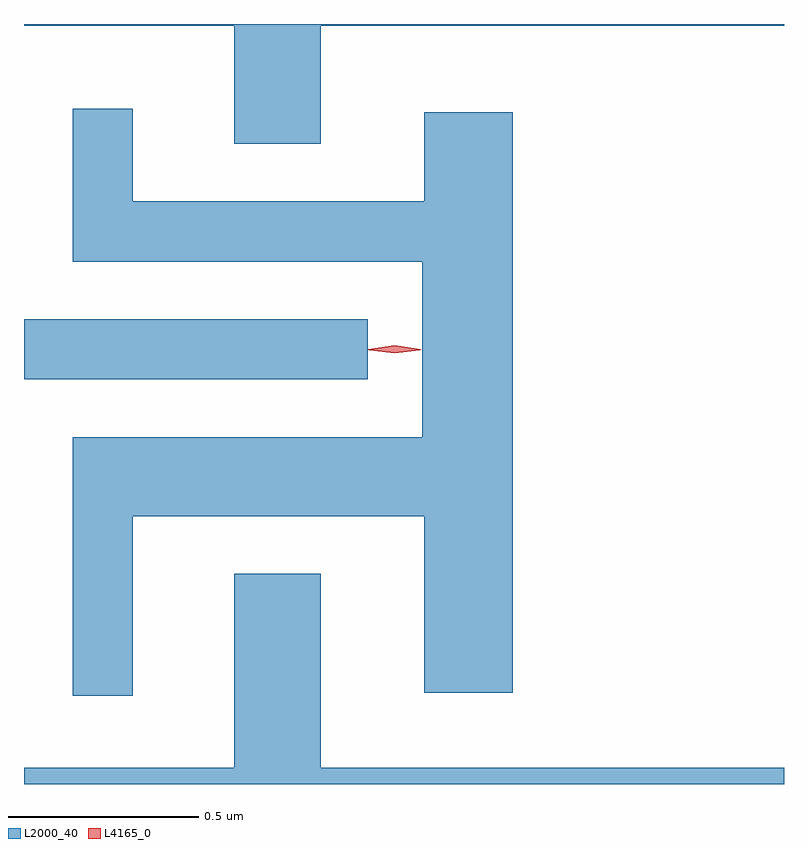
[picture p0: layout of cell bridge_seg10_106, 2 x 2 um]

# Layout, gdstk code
import gdstk
lib = gdstk.Library(unit=1e-6, precision=1e-09)
def R(c, l, rs):  # rectangles x0, y0, x1, y1
    for r in rs: c.add(gdstk.rectangle(r[:2], r[2:], *l))
def P(c, l, *ps):  # polygons
    for p in ps: c.add(gdstk.Polygon(p, *l))
L2000_40 = (2000, 40)
L4165_0 = (4165, 0)

bridge_seg10_106 = lib.new_cell('bridge_seg10_106')
R(bridge_seg10_106, L2000_40, [(1548.058,2186.246,1548.963,2186.404)])
P(bridge_seg10_106, L2000_40, [(1548.839,2187.176),(1550.058,2187.176),(1550.058,2187.181),(1548.058,2187.181),(1548.058,2187.176),(1548.611,2187.176),(1548.611,2186.866),(1548.839,2186.866)],
  [(1548.344,2185.886),(1549.111,2185.886),(1549.111,2185.421),(1549.344,2185.421),(1549.344,2186.949),(1549.111,2186.949),(1549.111,2186.714),(1548.344,2186.714),(1548.344,2186.958),(1548.186,2186.958),(1548.186,2186.556),(1549.106,2186.556),(1549.106,2186.094),(1548.186,2186.094),(1548.186,2185.413),(1548.344,2185.413)],
  [(1550.058,2185.224),(1548.839,2185.224),(1548.839,2185.734),(1548.611,2185.734),(1548.611,2185.224),(1548.058,2185.224),(1548.058,2185.181),(1550.058,2185.181)])
P(bridge_seg10_106, L4165_0, [(1549.033,2186.315),(1548.964,2186.324),(1548.964,2186.325),(1548.964,2186.325),(1549.033,2186.335),(1549.102,2186.325),(1549.102,2186.325),(1549.102,2186.324)],
  [(1549.033,2186.314),(1548.967,2186.323),(1548.967,2186.324),(1548.967,2186.324),(1549.033,2186.334),(1549.099,2186.324),(1549.099,2186.324),(1549.099,2186.323)])

lib.write_gds('bridge_seg10_106.gds')
